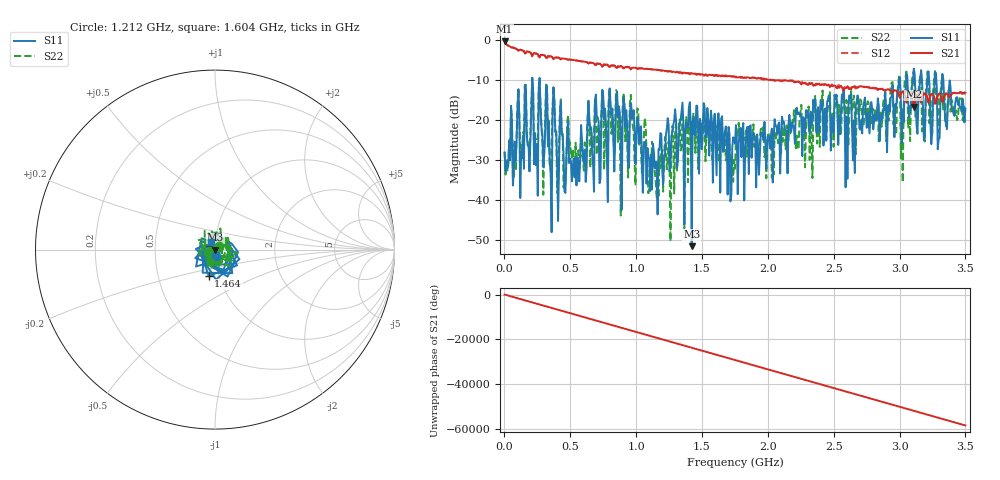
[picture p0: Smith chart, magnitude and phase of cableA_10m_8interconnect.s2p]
# GHZ S RI R 50.000000000000
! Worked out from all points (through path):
!   501 points, 1 MHz to 3.5 GHz, reference 50 ohm
!   highest |S21| = -0.29 dB at 1 MHz (marker M1); lowest = -16.7 dB at 3.108 GHz (marker M2)
!   lowest |S11| = -51.5 dB at 1.422 GHz (marker M3), VSWR 1.01, Z = 50.3 - j0.0626 ohm
!   |S11| at or under -10 dB: start of sweep to 210.4 MHz; 267.3 MHz to 2.996 GHz (2.728 GHz wide, 167 % of centre); 3.332 GHz to end of sweep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
!   |S22| runs from -50.3 to -7.8 dB; largest |S21 - S12| = 0.03
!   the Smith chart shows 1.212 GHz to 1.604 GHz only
!   S11 on the Smith chart (normalised r, x): 1.212 GHz: 1.01, -0.07; 1.464 GHz: 0.89, -0.27; 1.604 GHz: 0.95, +0.08
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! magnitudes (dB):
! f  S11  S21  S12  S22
! 1 MHz  -28.1  -0.3  -0.1  -27.9
! 217.9 MHz  -13.0  -3.5  -3.5  -13.0
! 238.9 MHz  -31.3  -3.4  -3.4  -30.4
! 266.9 MHz  -9.6  -4.4  -4.4  -9.5
! 294.9 MHz  -31.8  -3.7  -3.7  -38.7
! 322.9 MHz  -11.6  -4.5  -4.5  -11.4
! 343.9 MHz  -30.6  -4.0  -4.1  -31.7
! 378.9 MHz  -15.3  -4.6  -4.6  -15.2
! 399.9 MHz  -31.1  -4.4  -4.4  -38.1
! 588.8 MHz  -25.5  -5.3  -5.4  -28.5
! 966.7 MHz  -19.6  -7.0  -7.0  -20.2
! 1.17 GHz  -27.3  -7.5  -7.5  -39.5
! 1.212 GHz  -29.2  -7.7  -7.7  -30.3
! 1.422 GHz  -51.5  -8.3  -8.3  -29.4
! 1.464 GHz  -16.4  -8.5  -8.7  -20.5
! 1.604 GHz  -26.3  -8.7  -8.9  -22.8
! 1.709 GHz  -23.5  -9.0  -9.2  -25.2
! 1.75 GHz  -25.9  -9.1  -9.2  -32.1
! 2.338 GHz  -20.3  -10.8  -11.1  -34.5
! 2.919 GHz  -16.2  -12.4  -12.4  -20.1
! 3.108 GHz  -7.1  -16.7  -16.8  -7.8
! 3.5 GHz  -17.2  -13.2  -13.3  -16.7
